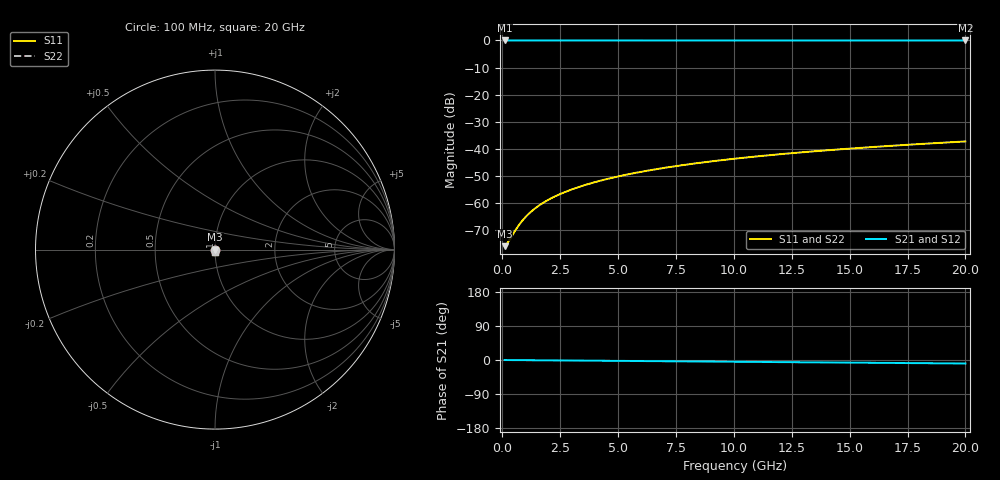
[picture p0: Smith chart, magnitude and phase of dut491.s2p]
! Touchstone file exported from HFSS 2026.1.0
!  File:  C:/ffzhzh/LocalFiles/Ansys_Project_Files/temp_train_TSV_491_1783022826_53980.aedt
!  Generated:  04:09:08 AM Jul  3, 2026
!  Design:  TSV
!  Project:  temp_train_TSV_491_1783022826_53980
! Variables:
!  h_bsmrdl = 2um
!  h_ox = 20um
!  h_rdl = 5um
!  h_sub = 96.58um
!  h_tmrdl = 5um
!  h_tsv = 96.58um
!  h_via = 3um
!  l_bsmrdl = 300um
!  l_sub = 419.34um
!  l_tmrdl = 200um
!  m_sub = 200um
!  pitch = 36.08um
!  r_tsv = 9.67um
!  s_tmrdl = 10um
!  w_bsmrdl = 18um
!  w_sub = 500um
!  w_tmrdl = 12um
!  x_tsv_center1 = 206um
!  x_tsv_center2 = 524um
!  x_tsv_center3 = 736um
!  x_tsv_center4 = 1054um
!  x_tsv_center5 = 1266um
!  x_tsv_center6 = 1584um
# GHz S MA R 50.000000
! Terminal data exported
! Port[1] = TSV1_1_T1
! Port[2] = TSV1_1_T2
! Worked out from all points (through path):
!   200 points, 100 MHz to 20 GHz, reference 50 ohm
!   highest |S21| = 0.00 dB at 100 MHz (marker M1); lowest = 0.0 dB at 20 GHz (marker M2)
!   group delay of S21, straight-line fit = 1.28 ps
!   lowest |S11| = -75.9 dB at 100 MHz (marker M3), VSWR 1.00, Z = 50 - j0.00145 ohm
!   |S11| at or under -10 dB: start of sweep to end of sweep
!   |S22| runs from -75.9 to -37.3 dB; largest |S21 - S12| = 7.6e-15
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0.1  0.00016 -5.2  0.9998 -0.0  0.9998 -0.0  0.00016 -5.2
! Gamma 0 0 0 0
! Port Impedance 50 0 50 0
0.2  0.0001773 -10.6  0.9998 -0.1  0.9998 -0.1  0.0001773 -10.6
0.3  0.0002048 -16.1  0.9998 -0.1  0.9998 -0.1  0.0002048 -16.1
0.6  0.000331 -31.5  0.9997 -0.3  0.9997 -0.3  0.000331 -31.5
0.8  0.0004366 -39.7  0.9997 -0.4  0.9997 -0.4  0.0004366 -39.7
0.9  0.0004927 -43.2  0.9996 -0.4  0.9996 -0.4  0.0004927 -43.2
1.1  0.0006087 -49.0  0.9996 -0.5  0.9996 -0.5  0.0006087 -49.0
1.4  0.0007879 -55.6  0.9995 -0.7  0.9995 -0.7  0.0007879 -55.6
1.8  0.001032 -61.6  0.9995 -0.8  0.9995 -0.8  0.001032 -61.6
2.3  0.001341 -66.5  0.9994 -1.1  0.9994 -1.1  0.001341 -66.5
2.9  0.001719 -70.4  0.9994 -1.4  0.9994 -1.4  0.001719 -70.4
3.5  0.002103 -73.1  0.9993 -1.6  0.9993 -1.6  0.002103 -73.1
4.2  0.002561 -75.3  0.9993 -2.0  0.9993 -2.0  0.002561 -75.3
5  0.003094 -77.3  0.9992 -2.3  0.9992 -2.3  0.003094 -77.3
5.9  0.003703 -79.1  0.9991 -2.7  0.9991 -2.7  0.003703 -79.1
6.8  0.004322 -80.6  0.999 -3.2  0.999 -3.2  0.004322 -80.6
8.3  0.005364 -82.6  0.9989 -3.8  0.9989 -3.8  0.005364 -82.6
10.1  0.006627 -84.7  0.9988 -4.7  0.9988 -4.7  0.006627 -84.7
11.7  0.007756 -86.3  0.9987 -5.4  0.9987 -5.4  0.007755 -86.3
13.4  0.00896 -87.7  0.9986 -6.2  0.9986 -6.2  0.00896 -87.8
16.7  0.01131 -90.2  0.9985 -7.7  0.9985 -7.7  0.01131 -90.2
20  0.01369 -92.4  0.9983 -9.2  0.9983 -9.2  0.01369 -92.4
